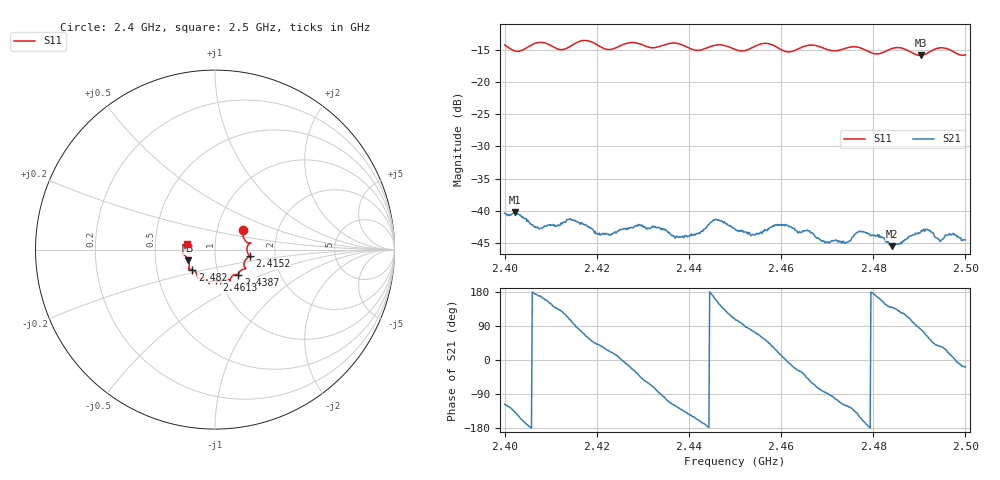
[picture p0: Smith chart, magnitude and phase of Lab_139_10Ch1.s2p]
# Hz S RI R 50
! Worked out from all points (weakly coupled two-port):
!   601 points, 2.4 GHz to 2.5 GHz, reference 50 ohm
!   highest |S21| = -40.23 dB at 2.4023 GHz (marker M1); lowest = -45.5 dB at 2.484 GHz (marker M2)
!   lowest |S11| = -15.9 dB at 2.4903 GHz (marker M3), VSWR 1.38, Z = 36.8 - j4.45 ohm
!   |S11| at or under -10 dB: start of sweep to end of sweep
!   S12 and S22 are empty: the file has one direction only
!   S11 on the Smith chart (normalised r, x): 2.4 GHz: 1.33, +0.31; 2.4152 GHz: 1.48, -0.11; 2.4387 GHz: 1.24, -0.36; 2.4613 GHz: 0.96, -0.34; 2.482 GHz: 0.76, -0.17; 2.5 GHz: 0.73, +0.05
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2.4e9  0.1576 0.1118  -0.00438 -0.00855  0 0  0 0
2.402333e9  0.1571 0.073  -0.00732 -0.00642  0 0  0 0
2.407333e9  0.1986 0.0363  -0.00718 0.00137  0 0  0 0
2.412167e9  0.1777 0.0038  -0.00512 0.0061  0 0  0 0
2.415167e9  0.1939 -0.0373  -0.000517 0.00834  0 0  0 0
2.416667e9  0.2038 -0.0436  0.00199 0.00769  0 0  0 0
2.4205e9  0.1847 -0.0446  0.00518 0.00428  0 0  0 0
2.433333e9  0.1324 -0.1318  0.000732 -0.0074  0 0  0 0
2.438667e9  0.1302 -0.1417  -0.00436 -0.00467  0 0  0 0
2.445833e9  0.0836 -0.1737  -0.00804 0.00306  0 0  0 0
2.45e9  0.0689 -0.1648  -0.00215 0.00692  0 0  0 0
2.456833e9  0.0379 -0.1951  0.00456 0.0054  0 0  0 0
2.461333e9  0.00787 -0.1708  0.00771 -0.000482  0 0  0 0
2.466667e9  -0.0346 -0.19  0.00337 -0.00592  0 0  0 0
2.47e9  -0.0433 -0.1729  0.000111 -0.00573  0 0  0 0
2.477333e9  -0.0969 -0.1553  -0.00625 -0.00305  0 0  0 0
2.482e9  -0.1258 -0.1114  -0.00568 0.00262  0 0  0 0
2.483333e9  -0.1396 -0.1088  -0.00452 0.00355  0 0  0 0
2.484e9  -0.1446 -0.1088  -0.00405 0.00345  0 0  0 0
2.490333e9  -0.1494 -0.0589  0.00106 0.0068  0 0  0 0
2.494833e9  -0.1827 -0.0199  0.00494 0.00334  0 0  0 0
2.5e9  -0.1585 0.0327  0.00565 -0.00189  0 0  0 0
